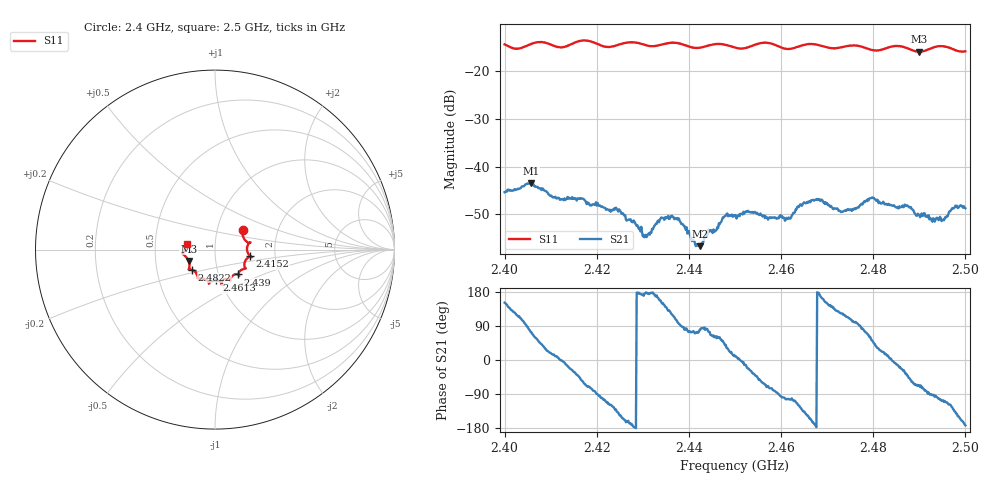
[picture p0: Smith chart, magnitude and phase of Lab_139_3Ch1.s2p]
# Hz S RI R 50
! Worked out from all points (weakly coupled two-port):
!   601 points, 2.4 GHz to 2.5 GHz, reference 50 ohm
!   highest |S21| = -43.42 dB at 2.4057 GHz (marker M1); lowest = -56.7 dB at 2.4423 GHz (marker M2)
!   lowest |S11| = -15.9 dB at 2.49 GHz (marker M3), VSWR 1.38, Z = 36.9 - j4.83 ohm
!   |S11| at or under -10 dB: start of sweep to end of sweep
!   S12 and S22 are empty: the file has one direction only
!   S11 on the Smith chart (normalised r, x): 2.4 GHz: 1.33, +0.31; 2.4152 GHz: 1.48, -0.11; 2.439 GHz: 1.24, -0.36; 2.4613 GHz: 0.96, -0.34; 2.4822 GHz: 0.76, -0.17; 2.5 GHz: 0.73, +0.05
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2.4e9  0.1556 0.1114  -0.00474 0.00259  0 0  0 0
2.405667e9  0.1887 0.0382  0.00191 0.00647  0 0  0 0
2.415167e9  0.1956 -0.0364  0.00389 -0.00241  0 0  0 0
2.416667e9  0.2051 -0.0424  0.00279 -0.0037  0 0  0 0
2.424667e9  0.1645 -0.0935  -0.00257 -0.0022  0 0  0 0
2.4305e9  0.1523 -0.1107  -0.00185 0.000122  0 0  0 0
2.433333e9  0.1317 -0.1321  -0.00261 0.000762  0 0  0 0
2.4365e9  0.135 -0.1466  -0.00137 0.00262  0 0  0 0
2.439e9  0.1282 -0.1384  0.000402 0.00236  0 0  0 0
2.442333e9  0.0957 -0.1481  0.000261 0.00144  0 0  0 0
2.447833e9  0.0847 -0.1698  0.00236 0.00191  0 0  0 0
2.45e9  0.0691 -0.1633  0.00307 0.000518  0 0  0 0
2.461333e9  0.00737 -0.1709  -0.000615 -0.00278  0 0  0 0
2.466667e9  -0.0336 -0.1902  -0.00417 -0.00148  0 0  0 0
2.473e9  -0.0775 -0.1601  -0.00181 0.0028  0 0  0 0
2.479667e9  -0.1045 -0.1306  0.00291 0.00372  0 0  0 0
2.482167e9  -0.1281 -0.1118  0.00399 0.00156  0 0  0 0
2.483333e9  -0.1395 -0.1103  0.00403 0.000593  0 0  0 0
2.49e9  -0.1467 -0.0637  0.00123 -0.00285  0 0  0 0
2.495167e9  -0.1818 -0.0204  -0.000785 -0.00266  0 0  0 0
2.497667e9  -0.1674 -0.00408  -0.00268 -0.00259  0 0  0 0
2.5e9  -0.1583 0.0337  -0.00363 -0.000478  0 0  0 0
